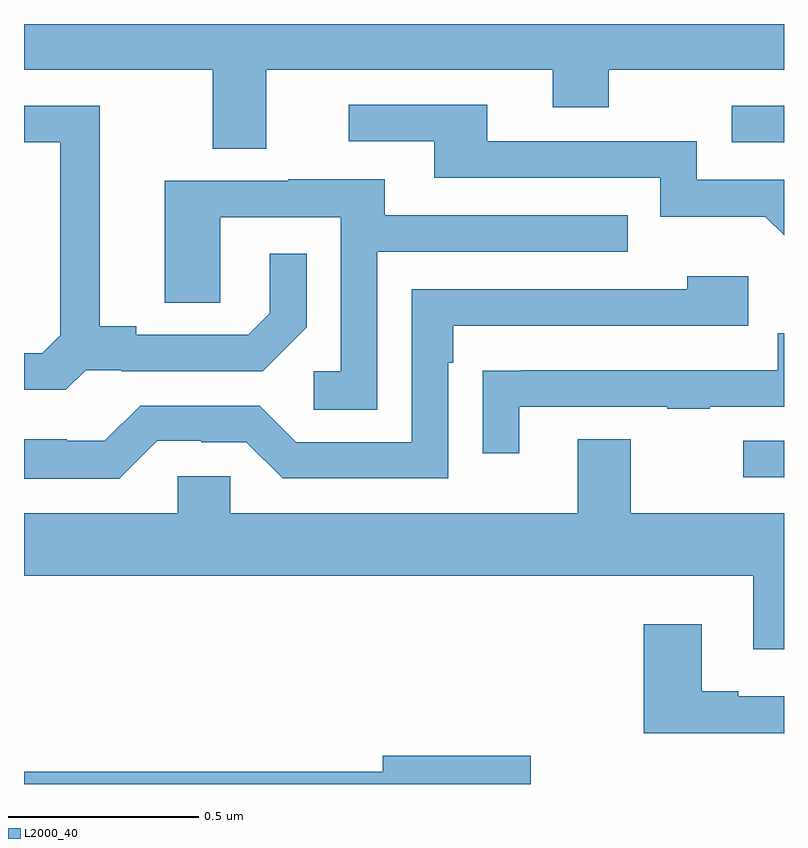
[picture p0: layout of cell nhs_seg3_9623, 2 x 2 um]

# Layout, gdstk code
import gdstk
lib = gdstk.Library(unit=1e-6, precision=1e-09)
def R(c, l, rs):  # rectangles x0, y0, x1, y1
    for r in rs: c.add(gdstk.rectangle(r[:2], r[2:], *l))
def P(c, l, *ps):  # polygons
    for p in ps: c.add(gdstk.Polygon(p, *l))
L2000_40 = (2000, 40)

nhs_seg3_9623 = lib.new_cell('nhs_seg3_9623')
R(nhs_seg3_9623, L2000_40, [(232.893,669.207,233,669.303), (232.863,670.089,233,670.185)])
P(nhs_seg3_9623, L2000_40, [(231.637,670.28),(232.391,670.28),(232.391,670.181),(232.539,670.181),(232.539,670.28),(233,670.28),(233,670.4),(231,670.4),(231,670.28),(231.497,670.28),(231.497,670.072),(231.637,670.072)],
  [(233,669.99),(232.77,669.99),(232.77,670.092),(232.219,670.092),(232.219,670.188),(231.855,670.188),(231.855,670.092),(232.079,670.092),(232.079,669.996),(232.674,669.996),(232.674,669.893),(232.951,669.893),(233,669.844)],
  [(231.162,669.489),(231.256,669.489),(231.256,669.486),(231.628,669.486),(231.744,669.602),(231.744,669.796),(231.647,669.796),(231.647,669.639),(231.59,669.582),(231.295,669.582),(231.295,669.605),(231.199,669.605),(231.199,670.185),(231,670.185),(231,670.089),(231.095,670.089),(231.095,669.581),(231.048,669.534),(231,669.534),(231,669.437),(231.11,669.437)],
  [(231.93,669.801),(232.589,669.801),(232.589,669.897),(231.949,669.897),(231.949,669.991),(231.695,669.991),(231.695,669.987),(231.371,669.987),(231.371,669.667),(231.516,669.667),(231.516,669.891),(231.834,669.891),(231.834,669.486),(231.762,669.486),(231.762,669.385),(231.93,669.385)],
  [(231.351,669.303),(231.467,669.303),(231.467,669.3),(231.585,669.3),(231.681,669.204),(232.116,669.204),(232.116,669.509),(232.129,669.509),(232.129,669.606),(232.906,669.606),(232.906,669.736),(232.745,669.736),(232.745,669.702),(232.02,669.702),(232.02,669.3),(231.717,669.3),(231.621,669.396),(231.306,669.396),(231.213,669.303),(231.113,669.303),(231.113,669.307),(231,669.307),(231,669.203),(231.251,669.203)],
  [(232.303,669.393),(232.693,669.393),(232.693,669.388),(232.805,669.388),(232.805,669.393),(233,669.393),(233,669.586),(232.984,669.586),(232.984,669.489),(232.309,669.489),(232.309,669.488),(232.207,669.488),(232.207,669.27),(232.303,669.27)],
  [(233,669.112),(232.597,669.112),(232.597,669.307),(232.457,669.307),(232.457,669.112),(231.543,669.112),(231.543,669.21),(231.405,669.21),(231.405,669.112),(231,669.112),(231,668.948),(232.919,668.948),(232.919,668.754),(233,668.754)],
  [(233,668.631),(232.879,668.631),(232.879,668.644),(232.783,668.644),(232.783,668.821),(232.631,668.821),(232.631,668.534),(233,668.534)],
  [(232.333,668.475),(231.944,668.475),(231.944,668.432),(231,668.432),(231,668.4),(232.333,668.4)])

lib.write_gds('nhs_seg3_9623.gds')
